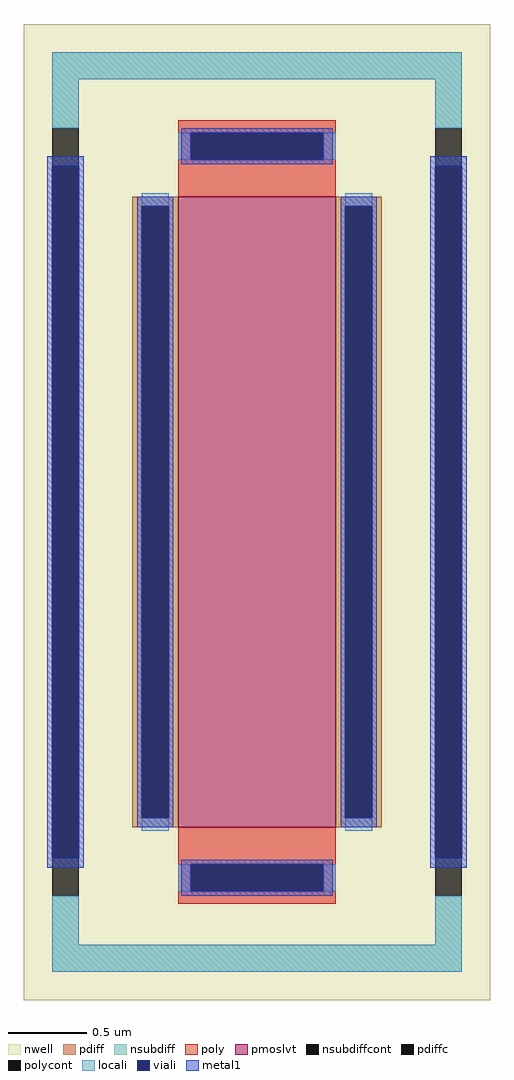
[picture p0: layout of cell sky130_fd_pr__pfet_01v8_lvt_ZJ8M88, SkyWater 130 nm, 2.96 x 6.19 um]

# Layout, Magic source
magic
tech sky130A
magscale 1 2
<< nwell >>
rect -296 -619 296 619
<< pmoslvt >>
rect -100 -400 100 400
<< pdiff >>
rect -158 388 -100 400
rect -158 -388 -146 388
rect -112 -388 -100 388
rect -158 -400 -100 -388
rect 100 388 158 400
rect 100 -388 112 388
rect 146 -388 158 388
rect 100 -400 158 -388
<< pdiffc >>
rect -146 -388 -112 388
rect 112 -388 146 388
<< nsubdiff >>
rect -260 549 260 583
rect -260 487 -226 549
rect 226 487 260 549
rect -260 -549 -226 -487
rect 226 -549 260 -487
rect -260 -583 260 -549
<< nsubdiffcont >>
rect -260 -487 -226 487
rect 226 -487 260 487
<< poly >>
rect -100 481 100 497
rect -100 447 -84 481
rect 84 447 100 481
rect -100 400 100 447
rect -100 -447 100 -400
rect -100 -481 -84 -447
rect 84 -481 100 -447
rect -100 -497 100 -481
<< polycont >>
rect -84 447 84 481
rect -84 -481 84 -447
<< locali >>
rect -260 549 260 583
rect -260 487 -226 549
rect 226 487 260 549
rect -100 447 -84 481
rect 84 447 100 481
rect -146 388 -112 404
rect -146 -404 -112 -388
rect 112 388 146 404
rect 112 -404 146 -388
rect -100 -481 -84 -447
rect 84 -481 100 -447
rect -260 -549 -226 -487
rect 226 -549 260 -487
rect -260 -583 260 -549
<< viali >>
rect -84 447 84 481
rect -260 -439 -226 439
rect -146 -388 -112 388
rect 112 -388 146 388
rect 226 -439 260 439
rect -84 -481 84 -447
<< metal1 >>
rect -96 481 96 487
rect -266 439 -220 451
rect -96 447 -84 481
rect 84 447 96 481
rect -96 441 96 447
rect -266 -439 -260 439
rect -226 -439 -220 439
rect 220 439 266 451
rect -152 388 -106 400
rect -152 -388 -146 388
rect -112 -388 -106 388
rect -152 -400 -106 -388
rect 106 388 152 400
rect 106 -388 112 388
rect 146 -388 152 388
rect 106 -400 152 -388
rect -266 -451 -220 -439
rect 220 -439 226 439
rect 260 -439 266 439
rect -96 -447 96 -441
rect -96 -481 -84 -447
rect 84 -481 96 -447
rect 220 -451 266 -439
rect -96 -487 96 -481
<< properties >>
string FIXED_BBOX -243 -566 243 566
string gencell sky130_fd_pr__pfet_01v8_lvt
string library sky130
string parameters w 4 l 1 m 1 nf 1 diffcov 100 polycov 100 guard 1 glc 1 grc 1 gtc 0 gbc 0 tbcov 100 rlcov 100 topc 1 botc 1 poverlap 0 doverlap 1 lmin 0.15 wmin 0.42 compatible {sky130_fd_pr__pfet_01v8  sky130_fd_pr__pfet_01v8_lvt sky130_fd_pr__pfet_01v8_hvt  sky130_fd_pr__pfet_g5v0d10v5} full_metal 1 viasrc 100 viadrn 100 viagate 100 viagb 0 viagr 80 viagl 80 viagt 0
<< end >>
